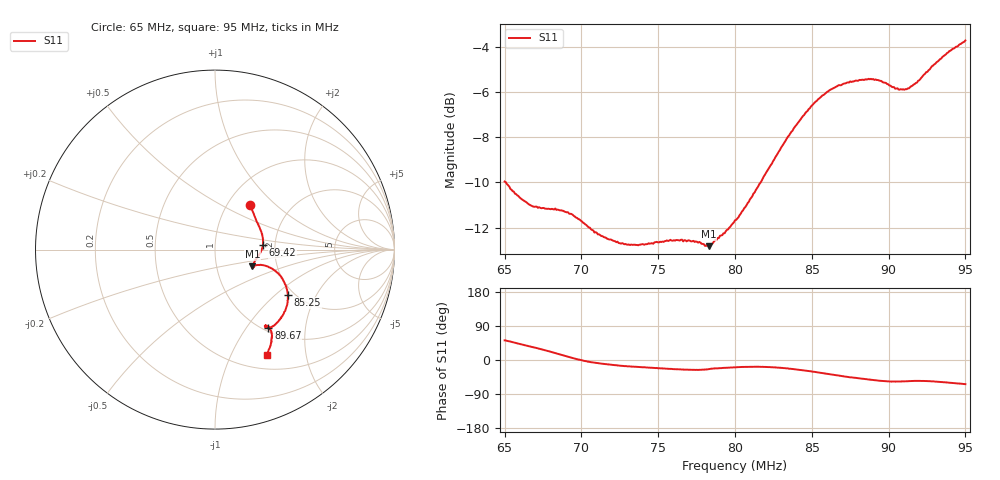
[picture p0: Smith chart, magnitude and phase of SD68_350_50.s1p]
! NanoVNA-App
! Date: 2025-08-09 13:01:42
! Start: 65MHz Stop: 95MHz Points: 401
! S-Parameter data: F S11
# Hz S RI R 50
!  Frequency  S11_Real  S11_Imag
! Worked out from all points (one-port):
!   401 points, 65 MHz to 95 MHz, reference 50 ohm
!   lowest |S11| = -12.8 dB at 78.28 MHz (marker M1), VSWR 1.59, Z = 74.6 - j14.8 ohm
!   |S11| at or under -10 dB: 65.09 MHz to 81.67 MHz (16.58 MHz wide, 22.6 % of centre)
!   S11 on the Smith chart (normalised r, x): 65 MHz: 1.27, +0.71; 69.42 MHz: 1.73, +0.09; 85.25 MHz: 1.85, -1.21; 89.67 MHz: 1.06, -1.27; 95 MHz: 0.68, -1.38
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6.5e7  0.1962 0.2498
6.5825e7  0.2132 0.2055
6.6725e7  0.2303 0.1609
6.875e7  0.267 0.0613
6.9425e7  0.2672 0.0246
7.055e7  0.25 -0.0223
7.25e7  0.2242 -0.0596
7.37e7  0.218 -0.0718
7.625e7  0.2147 -0.0973
7.76e7  0.2088 -0.1026
7.8275e7  0.2083 -0.0938
8e7  0.246 -0.0862
8.105e7  0.2785 -0.0893
8.21e7  0.3183 -0.1058
8.2925e7  0.3499 -0.1299
8.375e7  0.377 -0.1659
8.45e7  0.3959 -0.2055
8.525e7  0.4055 -0.2525
8.6225e7  0.4006 -0.3117
8.75e7  0.3696 -0.3791
8.885e7  0.3293 -0.4234
8.9675e7  0.2974 -0.4343
9.0575e7  0.2787 -0.4287
9.125e7  0.2867 -0.4228
9.1925e7  0.3034 -0.436
9.2975e7  0.3183 -0.4818
9.38e7  0.3104 -0.5272
9.5e7  0.2883 -0.5853
